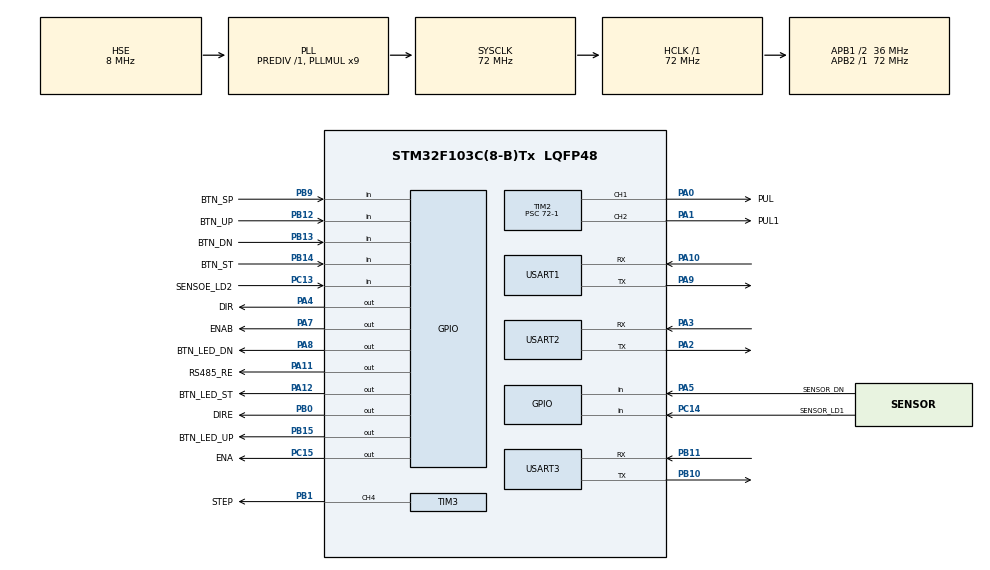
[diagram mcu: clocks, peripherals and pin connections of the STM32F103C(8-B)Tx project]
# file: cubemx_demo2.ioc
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Mcu.Family=STM32F1
Mcu.Name=STM32F103C(8-B)Tx
Mcu.Package=LQFP48
NVIC.PriorityGroup=NVIC_PRIORITYGROUP_4
NVIC.TIM2_IRQn=true\:0\:0\:false\:false\:true\:true\:true\:true
NVIC.TIM3_IRQn=true\:0\:0\:false\:false\:true\:true\:true\:true
NVIC.USART1_IRQn=true\:0\:0\:false\:false\:true\:true\:true\:true
NVIC.USART2_IRQn=true\:0\:0\:false\:false\:true\:true\:true\:true
NVIC.USART3_IRQn=true\:0\:0\:false\:false\:true\:true\:true\:true
PA0-WKUP.GPIO_Label=PUL
PA0-WKUP.Signal=S_TIM2_CH1_ETR
PA1.GPIO_Label=PUL1
PA1.Signal=S_TIM2_CH2
PA10.Mode=Asynchronous
PA10.Signal=USART1_RX
PA11.GPIO_Label=RS485_RE
PA11.Signal=GPIO_Output
PA12.GPIO_Label=BTN_LED_ST
PA12.Signal=GPIO_Output
PA13.Mode=Serial_Wire
PA13.Signal=SYS_JTMS-SWDIO
PA14.Mode=Serial_Wire
PA14.Signal=SYS_JTCK-SWCLK
PA2.Mode=Asynchronous
PA2.Signal=USART2_TX
PA3.Mode=Asynchronous
PA3.Signal=USART2_RX
PA4.GPIO_Label=DIR
PA4.Signal=GPIO_Output
PA5.GPIO_Label=SENSOR_DN
PA5.GPIO_PuPd=GPIO_PULLUP
PA5.Signal=GPIO_Input
PA7.GPIO_Label=ENAB
PA7.Signal=GPIO_Output
PA8.GPIO_Label=BTN_LED_DN
PA8.Signal=GPIO_Output
PA9.Mode=Asynchronous
PA9.Signal=USART1_TX
PB0.GPIO_Label=DIRE
PB0.Signal=GPIO_Output
PB1.GPIO_Label=STEP
PB1.Signal=S_TIM3_CH4
PB10.Mode=Asynchronous
PB10.Signal=USART3_TX
PB11.Mode=Asynchronous
PB11.Signal=USART3_RX
PB12.GPIO_Label=BTN_UP
PB12.GPIO_PuPd=GPIO_PULLUP
PB12.Signal=GPIO_Input
PB13.GPIO_Label=BTN_DN
PB13.GPIO_PuPd=GPIO_PULLUP
PB13.Signal=GPIO_Input
PB14.GPIO_Label=BTN_ST
PB14.GPIO_PuPd=GPIO_PULLUP
PB14.Signal=GPIO_Input
PB15.GPIO_Label=BTN_LED_UP
PB15.Signal=GPIO_Output
PB9.GPIO_Label=BTN_SP
PB9.GPIO_PuPd=GPIO_NOPULL
PB9.Signal=GPIO_Input
PC13-TAMPER-RTC.GPIO_Label=SENSOE_LD2
PC13-TAMPER-RTC.GPIO_PuPd=GPIO_PULLUP
PC13-TAMPER-RTC.Signal=GPIO_Input
PC14-OSC32_IN.GPIO_Label=SENSOR_LD1
PC14-OSC32_IN.GPIO_PuPd=GPIO_PULLUP
PC14-OSC32_IN.Signal=GPIO_Input
PC15-OSC32_OUT.GPIO_Label=ENA
PC15-OSC32_OUT.Signal=GPIO_Output
PD0-OSC_IN.Mode=HSE-External-Oscillator
PD0-OSC_IN.Signal=RCC_OSC_IN
PD1-OSC_OUT.Mode=HSE-External-Oscillator
PD1-OSC_OUT.Signal=RCC_OSC_OUT
ProjectManager.HeapSize=0x200
ProjectManager.StackSize=0x400
ProjectManager.TargetToolchain=CMake
RCC.AHBFreq_Value=72000000
RCC.APB1CLKDivider=RCC_HCLK_DIV2
RCC.APB1Freq_Value=36000000
RCC.APB1TimFreq_Value=72000000
RCC.APB2Freq_Value=72000000
RCC.APB2TimFreq_Value=72000000
RCC.HCLKFreq_Value=72000000
RCC.PLLMUL=RCC_PLL_MUL9
RCC.PLLSourceVirtual=RCC_PLLSOURCE_HSE
RCC.SYSCLKFreq_VALUE=72000000
RCC.SYSCLKSource=RCC_SYSCLKSOURCE_PLLCLK
RCC.USBFreq_Value=72000000
SH.S_TIM2_CH1_ETR.0=TIM2_CH1,PWM Generation1 CH1
SH.S_TIM2_CH2.0=TIM2_CH2,PWM Generation2 CH2
SH.S_TIM3_CH4.0=TIM3_CH4,PWM Generation4 CH4
TIM2.Channel-PWM\ Generation1\ CH1=TIM_CHANNEL_1
TIM2.Channel-PWM\ Generation2\ CH2=TIM_CHANNEL_2
TIM2.Prescaler=72-1
TIM3.Channel-PWM\ Generation4\ CH4=TIM_CHANNEL_4
TIM3.OCMode_PWM-PWM\ Generation4\ CH4=TIM_OCMODE_PWM1
TIM3.Prescaler=72 - 1
TIM3.TIM_MasterOutputTrigger=TIM_TRGO_UPDATE
USART1.VirtualMode=VM_ASYNC
USART2.VirtualMode=VM_ASYNC
USART3.VirtualMode=VM_ASYNC
VP_TIM3_VS_ClockSourceINT.Mode=Internal
board=custom

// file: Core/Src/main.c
/* USER CODE BEGIN Header */
/**
 ******************************************************************************
 * @file           : main.c
 * @brief          : Main program body
 ******************************************************************************
 * @attention
 *
 * Copyright (c) 2025 STMicroelectronics.
 * All rights reserved.
 *
 * This software is licensed under terms that can be found in the LICENSE file
 * in the root directory of this software component.
 * If no LICENSE file comes with this software, it is provided AS-IS.
 *
 ******************************************************************************
 */
/* USER CODE END Header */
#include "main.h"
#include "tim.h"
#include "usart.h"
#include "gpio.h"

/* USER CODE BEGIN Includes */
#include <stdio.h>
#include <string.h>
#include <math.h>

#include "debug.h"
#include "dma_db.h"
#include "helper.h"
#include "bsp_modbus_master.h"
#include "motor_mb.h"
#include "motor_pwm.h"
#include "config.h"
#include "lcd.h"
#include "screen.h"

// #define MODBUS_HUART huart1 // modbus 通信 com3
// #define LCD_HUART    huart2 // lcd 屏幕通信
// #define DEBUG_HUART  huart3 // 串口调试 com4 串口调试

/* USER CODE END Includes */

/* USER CODE BEGIN PD */

#define PI         3.1415926 /* 圆周率*/
#define FSPR       200       /* 步进电机单圈步数 */
#define MICRO_STEP 16        /* 步进电机驱动器细分数 */

// #define OC_IT      0
// #define OC_DMA     1
// #define PWM_IT     2
// #define PWM_DMA    3
// #define RUN_MODE   OC_DMA

/* USER CODE END PD */

/* USER CODE BEGIN PV */

MotorPWM_t motor_pwm; // 添加电机实例
Screen_t screen;
LCD_t lcd;

// Profile_t motor42_profile = {
//     .max_rpm          = 1000,     // 最高转速
//     .steps_per_rev    = 200 * 16, // 16细分
//     .reduction_ratio  = 1,        // 减速比
//     .accel_time       = 0.5,      // 加速时间 ms
//     .decel_time       = 0.3,      // 减速时间 ms
//     .travel_distance  = 450 * 3,  // 导轨有效行程
//     .distance_per_rev = 40,       // T2-20 齿,转一周周长:20*2=40mm
// };

// Profile_t servo_profile = {
//     .max_rpm          = 3000,     // 最高转速
//     .steps_per_rev    = 200 * 16, // 16细分
//     .reduction_ratio  = 12,       // 减速比
//     .accel_time       = 1,        // 加速时间 ms
//     .decel_time       = 0.8,      // 减速时间 ms
//     .travel_distance  = 1650,     // 导轨有效行程
//     .distance_per_rev = 125,      // 同步轮 T5-25 转一周周长
// };

/* USER CODE END PV */

void SystemClock_Config(void);

/* USER CODE BEGIN 0 */

void HAL_UART_RxCpltCallback(UART_HandleTypeDef *huart)
{
    if (huart->Instance == USART2) {
        // PRINT_DEBUG("HAL_UART_RxCpltCallback");
        lcd_receive_byte_callback(&lcd);
    }
}

void HAL_TIM_PWM_PulseFinishedCallback(TIM_HandleTypeDef *htim)
{
    if (htim->Instance == TIM2) {
        // printf("HAL_TIM_PWM_PulseFinishedCallback\r\n");
        // motor_pwm_tim_callback(&motor_pwm);
    }
}

void HAL_TIM_PWM_PulseFinishedHalfCpltCallback(TIM_HandleTypeDef *htim)
{
    if (htim->Instance == TIM2) {
        // printf("HAL_TIM_PWM_PulseFinishedHalfCpltCallback\r\n");
    }
}

void HAL_TIM_OC_DelayElapsedCallback(TIM_HandleTypeDef *htim)
{
    if (htim->Instance == TIM2) {
        // printf("HAL_TIM_OC_DelayElapsedCallback\r\n");
        // motor_pwm_tim_callback(&motor_pwm);
    }
}

void HAL_TIM_PeriodElapsedCallback(TIM_HandleTypeDef *htim)
{
    if (htim->Instance == TIM3) {
        motor_pwm_tim_callback(&motor_pwm);
        // printf("HAL_TIM_PeriodElapsedCallback\r\n");
    }
}

void print_motor_status(MotorPWM_t *motor)
{
    const char *state_str[] = {"STOP", "ACCEL", "CONST", "DECEL", "FINISHED"};

    // 计算实际 RPM
    float current_rpm = (motor->current_speed * 60.0f) / SPR;
    float target_rpm  = (motor->speed * 60.0f) / SPR;

    printf("Pos:%7ld | State:%-6s | Speed:%5lu/%5lu (%4.0f/%4.0f RPM) | Step:%6lu\r\n",
           motor_pwm_get_current_pos(motor),
           state_str[motor_pwm_get_state(motor)],
           motor->current_speed,
           motor->speed,
           current_rpm,
           target_rpm,
           motor->step_count);
}

int _write(int file, char *ptr, int len)
{
    (void)file;
    // 在中断上下文中使用非阻塞方式
    if (__get_IPSR() != 0) {
        // 在中断中，使用较短的超时时间
        HAL_UART_Transmit(&huart3, (uint8_t *)ptr, len, 200);
    } else {
        // 在主程序中，使用阻塞方式
        HAL_UART_Transmit(&huart3, (uint8_t *)ptr, len, HAL_MAX_DELAY);
    }
    return len;
}

/* USER CODE END 0 */

int main(void)
{

    /* MCU Configuration--------------------------------------------------------*/

    /* Reset of all peripherals, Initializes the Flash interface and the Systick. */
    HAL_Init();

    /* Configure the system clock */
    SystemClock_Config();

    /* Initialize all configured peripherals */
    MX_GPIO_Init();
    MX_TIM3_Init();
    MX_USART1_UART_Init();
    MX_USART2_UART_Init();
    MX_USART3_UART_Init();
    MX_TIM2_Init();
    /* USER CODE BEGIN 2 */

    printf("System start\r\n");

    // uint16_t regs[DWIN_DGUS_MAX_DATA_LEN];

    // bsp_dwin_dgus_init(LCD_HUART);

    // // 读取当前页面ID 5a a5 04 83 00 14 01
    // bsp_dwin_dgus_read_var_regs(0x14, 0x01, &regs[0], 0, 1000);

    // // 打印regs
    // for (int i = 0; i < 0x01; i++) {
    //     printf("%02x ", regs[i]);
    // }
    // printf("Page ID: %02x %02x %02x %02x %02x %02x %02x\r\n", regs[0], regs[1], regs[2], regs[3], regs[4], regs[5], regs[6]);

    // HAL_TIM_PWM_Start(&htim3, TIM_CHANNEL_4);
    // uint16_t data = 0x3130;

    /** test screen */
    // uint8_t data[] = {
    //     0xD4, 0xC6, // 云
    //     0xC4, 0xCF, // 南
    //     0xff, 0xff  // 结束符
    // };
    // uint16_t data_len = sizeof(data) / sizeof(data[0]);

    // screen_init(&screen, LCD_HUART);
    // screen_switch_page(&screen, 0x01);               // 5A A5 07 82 00 84 5A 01 00 01
    // screen_write_text(&screen, 0x1300, "Hello1111"); // 写入 "Hello"
    // screen_write_str_bytes(&screen, 0x1300, data, data_len);

    /* test screen end*/

    /* test lcd */
    lcd_init(&lcd, LCD_HUART, &screen);

    while (!lcd_begin(&lcd)) {
        PRINT_DEBUG("LCD begin failed\r\n");
        HAL_Delay(500);
    }

    // lcd_show_motor_init(&lcd);
    // HAL_Delay(1000);
    lcd_show_machine_info(&lcd);
    uint16_t total_count    = 10000;
    uint16_t current_count  = 100;
    float load_rate         = 10;
    uint16_t rpm            = 10;
    uint16_t pos            = 100;
    uint8_t mode            = 0;
    uint8_t stat            = 0;
    uint8_t sensor_dn_state = 0;
    uint8_t sensor_up_state = 0;
    uint8_t sensor_ld_state = 0;
    char total_count_str[16];
    char current_count_str[16];

    while (1) {
        total_count++;
        current_count++;
        rpm++;
        pos++;
        mode            = (uint8_t)((mode + 1) % 3);
        stat            = !stat;
        sensor_dn_state = !sensor_dn_state;
        sensor_up_state = !sensor_up_state;
        sensor_ld_state = !sensor_ld_state;
        load_rate++;

        sprintf(total_count_str, "%d", total_count);
        sprintf(current_count_str, "%d", current_count);
        lcd_update_counter(&lcd, total_count_str, current_count_str);
        lcd_update_motor_state(&lcd, rpm, pos, load_rate);
        lcd_update_btn_state(&lcd, mode);
        lcd_update_sensor_state(&lcd, sensor_dn_state, sensor_up_state, !sensor_ld_state);
        HAL_Delay(1000);
    }

    /* test lcd end */

    // motor_pwm_init(&motor_pwm, &htim3, MOTOR42_PWM_TIMER_CHANNEL, DIRE_PORT, DIRE_PIN, ENAB_PORT, ENAB_PIN);

    // float accel_time = 1.0f;                              // 期望1秒完成速度变化
    // uint32_t speed   = 600.0f / 60.0f * SPR;              // 根据转速计算速度
    // uint32_t accel   = (1000.0f / 60 * SPR) / accel_time; // a = v/t
    // uint32_t decel   = accel;                             // 减速度与加速度相同

    // motor_pwm_set_accel(&motor_pwm, accel);
    // motor_pwm_set_decel(&motor_pwm, decel);
    // motor_pwm_set_speed(&motor_pwm, speed);

    // motor_pwm_move(&motor_pwm, 100000);

    /* USER CODE END 2 */

    /* Infinite loop */
    while (1) {

    }
}

void SystemClock_Config(void)
{
    RCC_OscInitTypeDef RCC_OscInitStruct = {0};
    RCC_ClkInitTypeDef RCC_ClkInitStruct = {0};

    /** Initializes the RCC Oscillators according to the specified parameters
     * in the RCC_OscInitTypeDef structure.
     */
    RCC_OscInitStruct.OscillatorType = RCC_OSCILLATORTYPE_HSE;
    RCC_OscInitStruct.HSEState       = RCC_HSE_ON;
    RCC_OscInitStruct.HSEPredivValue = RCC_HSE_PREDIV_DIV1;
    RCC_OscInitStruct.HSIState       = RCC_HSI_ON;
    RCC_OscInitStruct.PLL.PLLState   = RCC_PLL_ON;
    RCC_OscInitStruct.PLL.PLLSource  = RCC_PLLSOURCE_HSE;
    RCC_OscInitStruct.PLL.PLLMUL     = RCC_PLL_MUL9;
    if (HAL_RCC_OscConfig(&RCC_OscInitStruct) != HAL_OK) {
        Error_Handler();
    }

    /** Initializes the CPU, AHB and APB buses clocks
     */
    RCC_ClkInitStruct.ClockType      = RCC_CLOCKTYPE_HCLK | RCC_CLOCKTYPE_SYSCLK | RCC_CLOCKTYPE_PCLK1 | RCC_CLOCKTYPE_PCLK2;
    RCC_ClkInitStruct.SYSCLKSource   = RCC_SYSCLKSOURCE_PLLCLK;
    RCC_ClkInitStruct.AHBCLKDivider  = RCC_SYSCLK_DIV1;
    RCC_ClkInitStruct.APB1CLKDivider = RCC_HCLK_DIV2;
    RCC_ClkInitStruct.APB2CLKDivider = RCC_HCLK_DIV1;

    if (HAL_RCC_ClockConfig(&RCC_ClkInitStruct, FLASH_LATENCY_2) != HAL_OK) {
        Error_Handler();
    }
}

void Error_Handler(void)
{
    __disable_irq();
    while (1) {
    }
}
